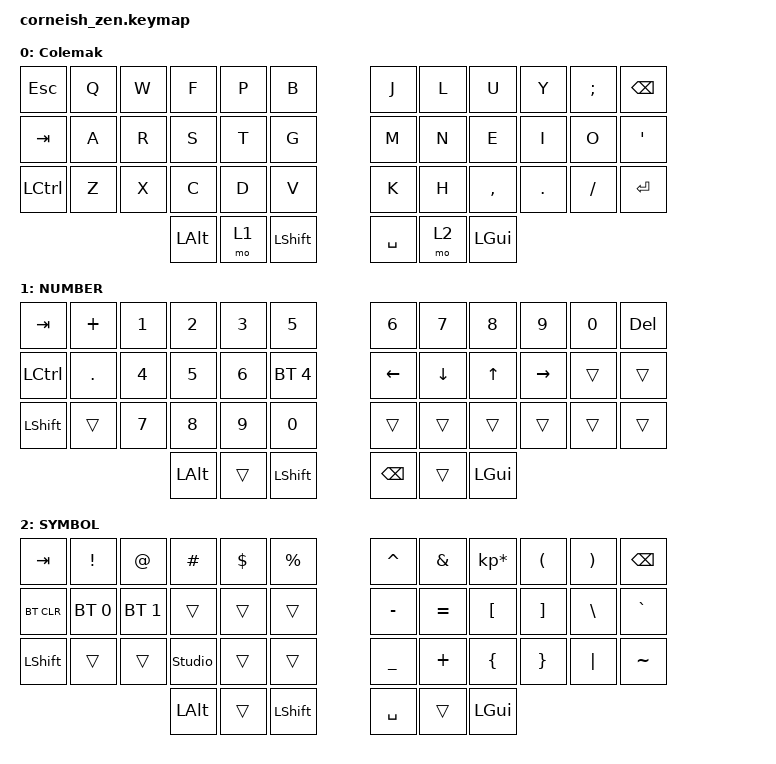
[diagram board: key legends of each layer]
#include <behaviors.dtsi>
#include <dt-bindings/zmk/keys.h>
#include <dt-bindings/zmk/bt.h>

/ {
  chosen {
        zmk,physical-layout = &foostan_corne_6col_layout;
        // zmk,physical-layout = &foostan_corne_5col_layout;
    };
};

/ {
        keymap {
                compatible = "zmk,keymap";

                default_layer {
                        label = "Colemak";
// -----------------------------------------------------------------------------------------
// | ESC |  Q  |  W  |  F  |  P  |  B  |   |  J  |  L   |  U  |  Y  |  ;  | BKSP |
// | TAB |  A  |  R  |  S  |  T  |  G  |   |  M  |  N   |  E  |  I  |  O  |  '   |
// | CTRL |  Z  |  X  |  C  |  D  |  V  |   |  K  |  H   |  ,  |  .  |  /  | ENT  |
//                    | ALT | LWR | SHFT |   | SPC | RSE  | GUI |
                        bindings = <
   &kp ESC   &kp Q &kp W &kp F &kp P &kp B   &kp J &kp L  &kp U     &kp Y   &kp SEMI    &kp BSPC
   &kp TAB  &kp A &kp R &kp S &kp T &kp G   &kp M &kp N  &kp E     &kp I   &kp O &kp SQT
   &kp LCTRL &kp Z &kp X &kp C &kp D &kp V   &kp K &kp H  &kp COMMA &kp DOT &kp FSLH &kp RET
                  &kp LALT &mo 1 &kp LSHFT   &kp SPACE &mo 2 &kp LGUI
                        >;
                };
                lower_layer {
                        label = "NUMBER";
// -----------------------------------------------------------------------------------------
// |  TAB |  +  |  1  |  2  |  3  |  5  |   |  6  |  7  |  8  |  9  |  0  | Del |
// | BTCLR| .   |  4  |  5  |  6  |  +  |   | LFT | DWN |  UP | RGT |     |      |
// | SHFT |     |  7  |  8  |  9  |  0  |   |     |     |     |     |     |      |
//                    | ALT |     | SHFT |   | BKSP |     | GUI |
                        bindings = <
   &kp TAB    &kp PLUS        &kp N1       &kp N2       &kp N3       &kp N5         &kp N6   &kp N7   &kp N8 &kp N9  &kp N0 &kp DEL
   &kp LCTRL  &kp DOT        &kp N4       &kp N5       &kp N6       &bt BT_SEL 4   &kp LEFT &kp DOWN &kp UP &kp RIGHT &trans &trans
   &kp LSHFT  &trans       &kp N7       &kp N8       &kp N9       &kp N0         &trans   &trans   &trans &trans    &trans &trans
                          	        &kp LALT    &trans       &kp LSHFT      &kp BSPC  &trans   &kp LGUI
                        >;
                };

                raise_layer {
                        label = "SYMBOL";
// -----------------------------------------------------------------------------------------
// |  TAB |  !  |  @  |  #  |  $  |  %  |   |  ^  |  &  |  *  |  (  |  )  | BKSP |
// | BTCL | BT0 | BT1 |     |     |     |   |  -  |  =  |  [  |  ]  |  \  |  `   |
// | SHFT |     |     | ZMK |     |     |   |  _  |  +  |  {  |  }  | "|" |  ~   |
//                    | GUI |     | Shft |   | spce |     | ALT |
                        bindings = <
   &kp  TAB  &kp EXCL &kp AT &kp HASH &kp DLLR &kp PRCNT   &kp CARET &kp AMPS  &kp KP_MULTIPLY &kp LPAR &kp RPAR &kp BSPC
   &bt BT_CLR &bt BT_SEL 0   &bt BT_SEL 1  &trans   &trans   &trans      &kp MINUS &kp EQUAL &kp LBKT        &kp RBKT &kp BSLH &kp GRAVE
   &kp LSHFT &trans   &trans &studio_unlock   &trans   &trans      &kp UNDER &kp PLUS  &kp LBRC        &kp RBRC &kp PIPE &kp TILDE
                    	     &kp LALT &trans   &kp LSHFT   &kp SPACE   &trans    &kp LGUI
                        >;
                };
        };
};
